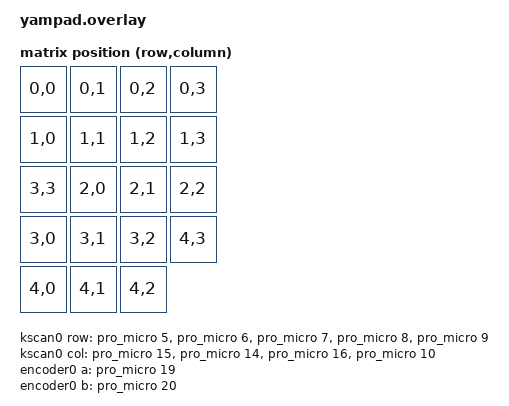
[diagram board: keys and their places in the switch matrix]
/*
 * Copyright (c) 2020 The ZMK Contributors
 *
 * SPDX-License-Identifier: MIT
 */

#include <dt-bindings/zmk/matrix_transform.h>

/ {
    chosen {
        zephyr,display = &oled;
        zmk,kscan = &kscan0;
        zmk,matrix_transform = &default_transform;
    };

    kscan0: kscan {
        compatible = "zmk,kscan-gpio-matrix";
        label = "KSCAN";
        diode-direction = "col2row";

        row-gpios
            = <&pro_micro 5 (GPIO_ACTIVE_HIGH | GPIO_PULL_DOWN)>
            , <&pro_micro 6 (GPIO_ACTIVE_HIGH | GPIO_PULL_DOWN)>
            , <&pro_micro 7 (GPIO_ACTIVE_HIGH | GPIO_PULL_DOWN)>
            , <&pro_micro 8 (GPIO_ACTIVE_HIGH | GPIO_PULL_DOWN)>
            , <&pro_micro 9 (GPIO_ACTIVE_HIGH | GPIO_PULL_DOWN)>
            ;

        col-gpios
            = <&pro_micro 15 GPIO_ACTIVE_HIGH>
            , <&pro_micro 14 GPIO_ACTIVE_HIGH>
            , <&pro_micro 16 GPIO_ACTIVE_HIGH>
            , <&pro_micro 10 GPIO_ACTIVE_HIGH>
            ;
    };
/*
 *     ,-------------------.
 *     | 00 | 01 | 02 | 03 |
 *     |----|----|----|----|
 *     | 10 | 11 | 12 |    |
 *,----|----|----|----| 13 |
 *| 33 | 20 | 21 | 22 |    |
 *'----|----|----|----|----|
 *     | 30 | 31 | 32 |    |
 *     |----|----|----| 43 |
 *     | 40 | 41 | 42 |    |
 *     `-------------------'
 */
    default_transform: keymap_transform_0 {
        compatible = "zmk,matrix-transform";
        columns = <4>;
        rows = <5>;
        map = <
                    RC(0,0) RC(0,1) RC(0,2) RC(0,3)
                    RC(1,0) RC(1,1) RC(1,2) RC(1,3)
            RC(3,3) RC(2,0) RC(2,1) RC(2,2)
                    RC(3,0) RC(3,1) RC(3,2) RC(4,3)
                    RC(4,0) RC(4,1) RC(4,2)
        >;
    };

    encoder0: encoder {
        compatible = "alps,ec11";
        label = "ENCODER";
        resolution = <2>;
        a-gpios = <&pro_micro 19 (GPIO_ACTIVE_HIGH | GPIO_PULL_UP)>;
        b-gpios = <&pro_micro 20 (GPIO_ACTIVE_HIGH | GPIO_PULL_UP)>;
    };

    sensors {
        compatible = "zmk,keymap-sensors";
        sensors = <&encoder0>;
    };
};

&pro_micro_i2c {
    status = "okay";

    oled: ssd1306@3c {
        compatible = "solomon,ssd1306fb";
        reg = <0x3c>;
        label = "DISPLAY";
        width = <128>;
        height = <32>;
        segment-offset = <0>;
        page-offset = <0>;
        display-offset = <0>;
        multiplex-ratio = <31>;
        com-sequential;
        prechargep = <0x22>;
    };
};
